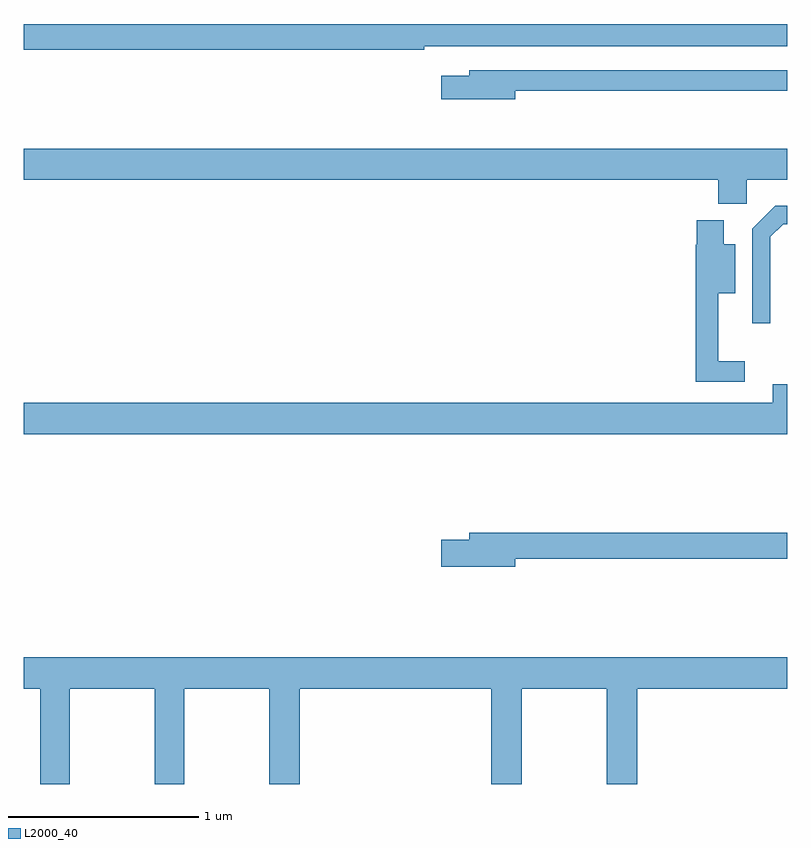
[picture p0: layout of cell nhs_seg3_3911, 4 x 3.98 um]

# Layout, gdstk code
import gdstk
lib = gdstk.Library(unit=1e-6, precision=1e-09)
def P(c, l, *ps):  # polygons
    for p in ps: c.add(gdstk.Polygon(p, *l))
L2000_40 = (2000, 40)

nhs_seg3_3911 = lib.new_cell('nhs_seg3_3911')
P(nhs_seg3_3911, L2000_40, [(315.098,720.264),(317,720.264),(317,720.38),(313,720.38),(313,720.244),(315.098,720.244)],
  [(315.574,720.03),(317,720.03),(317,720.138),(315.335,720.138),(315.335,720.109),(315.186,720.109),(315.186,719.987),(315.574,719.987)],
  [(316.788,719.564),(317,719.564),(317,719.728),(313,719.728),(313,719.564),(316.637,719.564),(316.637,719.438),(316.788,719.438)],
  [(316.911,719.265),(316.977,719.331),(317,719.331),(317,719.428),(316.936,719.428),(316.815,719.307),(316.815,718.812),(316.911,718.812)],
  [(316.777,718.615),(316.637,718.615),(316.637,718.97),(316.726,718.97),(316.726,719.227),(316.666,719.227),(316.666,719.353),(316.526,719.353),(316.526,719.223),(316.519,719.223),(316.519,718.506),(316.777,718.506)],
  [(317,718.494),(316.922,718.494),(316.922,718.396),(313,718.396),(313,718.232),(317,718.232)],
  [(315.574,717.58),(317,717.58),(317,717.716),(315.335,717.716),(315.335,717.68),(315.186,717.68),(315.186,717.538),(315.574,717.538)],
  [(313.242,716.9),(313.687,716.9),(313.687,716.4),(313.842,716.4),(313.842,716.9),(314.287,716.9),(314.287,716.4),(314.447,716.4),(314.447,716.9),(315.449,716.9),(315.449,716.4),(315.609,716.4),(315.609,716.9),(316.054,716.9),(316.054,716.4),(316.214,716.4),(316.214,716.9),(317,716.9),(317,717.064),(313,717.064),(313,716.9),(313.087,716.9),(313.087,716.4),(313.242,716.4)])

lib.write_gds('nhs_seg3_3911.gds')
